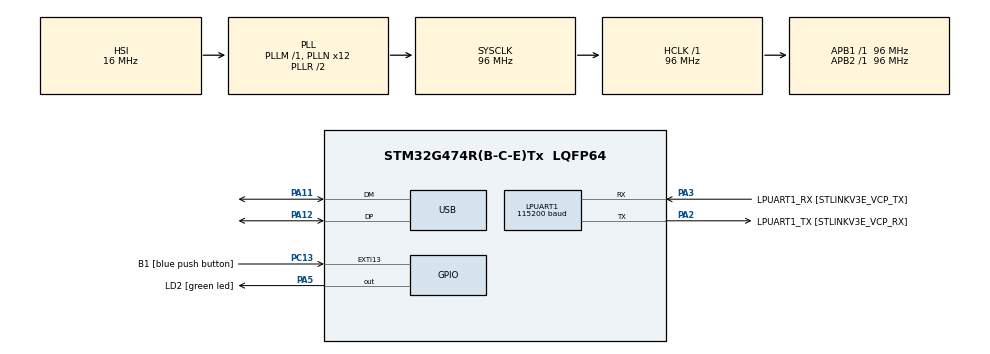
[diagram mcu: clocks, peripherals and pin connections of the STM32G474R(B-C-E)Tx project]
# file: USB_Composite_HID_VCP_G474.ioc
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LPUART1.BaudRate=115200
LPUART1.WordLength=UART_WORDLENGTH_8B
Mcu.Family=STM32G4
Mcu.Name=STM32G474R(B-C-E)Tx
Mcu.Package=LQFP64
NVIC.EXTI15_10_IRQn=true\:0\:0\:false\:false\:true\:true\:true\:true
NVIC.PriorityGroup=NVIC_PRIORITYGROUP_4
NVIC.USB_LP_IRQn=true\:0\:0\:false\:false\:true\:false\:true\:true
PA11.Mode=Device
PA11.Signal=USB_DM
PA12.Mode=Device
PA12.Signal=USB_DP
PA13.GPIO_Label=T_SWDIO
PA13.Mode=Serial_Wire
PA13.Signal=SYS_JTMS-SWDIO
PA14.GPIO_Label=T_SWCLK
PA14.Mode=Serial_Wire
PA14.Signal=SYS_JTCK-SWCLK
PA2.GPIO_Label=LPUART1_TX [STLINKV3E_VCP_RX]
PA2.Mode=Asynchronous
PA2.Signal=LPUART1_TX
PA3.GPIO_Label=LPUART1_RX [STLINKV3E_VCP_TX]
PA3.Mode=Asynchronous
PA3.Signal=LPUART1_RX
PA5.GPIO_Label=LD2 [green led]
PA5.Signal=GPIO_Output
PB3.GPIO_Label=T_SWO
PB3.Signal=SYS_JTDO-SWO
PC13.GPIO_Label=B1 [blue push button]
PC13.Signal=GPXTI13
PC14-OSC32_IN.Mode=LSE-External-Oscillator
PC14-OSC32_IN.Signal=RCC_OSC32_IN
PC15-OSC32_OUT.Mode=LSE-External-Oscillator
PC15-OSC32_OUT.Signal=RCC_OSC32_OUT
PF0-OSC_IN.Mode=HSE-External-Oscillator
PF0-OSC_IN.Signal=RCC_OSC_IN
PF1-OSC_OUT.Mode=HSE-External-Oscillator
PF1-OSC_OUT.Signal=RCC_OSC_OUT
ProjectManager.HeapSize=0x200
ProjectManager.StackSize=0x400
ProjectManager.TargetToolchain=STM32CubeIDE
RCC.ADC12Freq_Value=96000000
RCC.ADC345Freq_Value=96000000
RCC.AHBFreq_Value=96000000
RCC.APB1Freq_Value=96000000
RCC.APB1TimFreq_Value=96000000
RCC.APB2Freq_Value=96000000
RCC.APB2TimFreq_Value=96000000
RCC.CortexFreq_Value=96000000
RCC.EXTERNAL_CLOCK_VALUE=12288000
RCC.HCLKFreq_Value=96000000
RCC.HSE_VALUE=24000000
RCC.HSI48_VALUE=48000000
RCC.HSI_VALUE=16000000
RCC.PLLN=12
RCC.PLLQ=RCC_PLLQ_DIV4
RCC.RTCClockSelection=RCC_RTCCLKSOURCE_LSE
RCC.SYSCLKFreq_VALUE=96000000
RCC.SYSCLKSource=RCC_SYSCLKSOURCE_PLLCLK
RCC.USBFreq_Value=48000000
RCC.VCOOutputFreq_Value=192000000
USB.lpm_enable=DISABLE
USB_DEVICE.CLASS_NAME_FS=CUSTOM_HID
USB_DEVICE.CONFIGURATION_STRING_CUSTOMHID_FS=Custom Composite Config
USB_DEVICE.INTERFACE_STRING_CUSTOMHID_FS=Custom Composite Interface
USB_DEVICE.PID_CUSTOMHID_FS=22657 
USB_DEVICE.PRODUCT_STRING_CUSTOMHID_FS=STM32 Composite HID VCP
USB_DEVICE.USBD_CUSTOM_HID_REPORT_DESC_SIZE=187
USB_DEVICE.USBD_MAX_NUM_INTERFACES=3
USB_DEVICE.VirtualMode=CustomHid
USB_DEVICE.VirtualModeFS=Custom_Hid_FS
VP_SYS_VS_DBSignals.Mode=DisableDeadBatterySignals
VP_USB_DEVICE_VS_USB_DEVICE_CUSTOM_HID_FS.Mode=CUSTOM_HID_FS
board=NUCLEO-G474RE

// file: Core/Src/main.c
/* USER CODE BEGIN Header */
/**
  ******************************************************************************
  * @file           : main.c
  * @brief          : Main program body
  ******************************************************************************
  * @attention
  *
  * Copyright (c) 2023 STMicroelectronics.
  * All rights reserved.
  *
  * This software is licensed under terms that can be found in the LICENSE file
  * in the root directory of this software component.
  * If no LICENSE file comes with this software, it is provided AS-IS.
  *
  ******************************************************************************
  */
/* USER CODE END Header */
#include "main.h"
#include "usb_device.h"

/* USER CODE BEGIN Includes */
#include "usbd_custom_hid_if.h"
/* USER CODE END Includes */

UART_HandleTypeDef hlpuart1;

void SystemClock_Config(void);
static void MX_GPIO_Init(void);
static void MX_LPUART1_UART_Init(void);

/* USER CODE BEGIN 0 */
uint8_t buffer[8];

extern USBD_HandleTypeDef hUsbDeviceFS;
/* USER CODE END 0 */

int main(void)
{

  /* MCU Configuration--------------------------------------------------------*/

  /* Reset of all peripherals, Initializes the Flash interface and the Systick. */
  HAL_Init();

  /* Configure the system clock */
  SystemClock_Config();

  /* Initialize all configured peripherals */
  MX_GPIO_Init();
  MX_LPUART1_UART_Init();
  MX_USB_Device_Init();
  /* USER CODE BEGIN 2 */
  buffer[0]=1;//reportID
  buffer[1]=0;//modifier
  buffer[2]=0;//OEM
  buffer[3]=0x04;//keycode data - a
  buffer[4]=0;//keycode data
  buffer[5]=0;//keycode data
  buffer[6]=0;//keycode data
  buffer[7]=0;//keycode data
  /* USER CODE END 2 */

  /* Infinite loop */
  /* USER CODE BEGIN WHILE */
  HAL_Delay(2000);
  while (1)
  {
    /* USER CODE END WHILE */

    /* USER CODE BEGIN 3 */
	  if (HAL_GPIO_ReadPin(B1_GPIO_Port, B1_Pin) == GPIO_PIN_SET)
	  {
		  buffer[3]=0x4E;//keycode data - PgDwn press
		  USBD_CUSTOM_HID_SendReport_FS(buffer,8);
		  HAL_Delay(100);
		  buffer[3]=0x0;//keycode data - PgDwn release
		  USBD_CUSTOM_HID_SendReport_FS(buffer,8);
		  HAL_Delay(100);
	  }
  }
  /* USER CODE END 3 */
}

void SystemClock_Config(void)
{
  RCC_OscInitTypeDef RCC_OscInitStruct = {0};
  RCC_ClkInitTypeDef RCC_ClkInitStruct = {0};

  /** Configure the main internal regulator output voltage
  */
  HAL_PWREx_ControlVoltageScaling(PWR_REGULATOR_VOLTAGE_SCALE1);

  /** Initializes the RCC Oscillators according to the specified parameters
  * in the RCC_OscInitTypeDef structure.
  */
  RCC_OscInitStruct.OscillatorType = RCC_OSCILLATORTYPE_HSI;
  RCC_OscInitStruct.HSIState = RCC_HSI_ON;
  RCC_OscInitStruct.HSICalibrationValue = RCC_HSICALIBRATION_DEFAULT;
  RCC_OscInitStruct.PLL.PLLState = RCC_PLL_ON;
  RCC_OscInitStruct.PLL.PLLSource = RCC_PLLSOURCE_HSI;
  RCC_OscInitStruct.PLL.PLLM = RCC_PLLM_DIV1;
  RCC_OscInitStruct.PLL.PLLN = 12;
  RCC_OscInitStruct.PLL.PLLP = RCC_PLLP_DIV2;
  RCC_OscInitStruct.PLL.PLLQ = RCC_PLLQ_DIV4;
  RCC_OscInitStruct.PLL.PLLR = RCC_PLLR_DIV2;
  if (HAL_RCC_OscConfig(&RCC_OscInitStruct) != HAL_OK)
  {
    Error_Handler();
  }

  /** Initializes the CPU, AHB and APB buses clocks
  */
  RCC_ClkInitStruct.ClockType = RCC_CLOCKTYPE_HCLK|RCC_CLOCKTYPE_SYSCLK
                              |RCC_CLOCKTYPE_PCLK1|RCC_CLOCKTYPE_PCLK2;
  RCC_ClkInitStruct.SYSCLKSource = RCC_SYSCLKSOURCE_PLLCLK;
  RCC_ClkInitStruct.AHBCLKDivider = RCC_SYSCLK_DIV1;
  RCC_ClkInitStruct.APB1CLKDivider = RCC_HCLK_DIV1;
  RCC_ClkInitStruct.APB2CLKDivider = RCC_HCLK_DIV1;

  if (HAL_RCC_ClockConfig(&RCC_ClkInitStruct, FLASH_LATENCY_3) != HAL_OK)
  {
    Error_Handler();
  }
}

static void MX_LPUART1_UART_Init(void)
{

  hlpuart1.Instance = LPUART1;
  hlpuart1.Init.BaudRate = 115200;
  hlpuart1.Init.WordLength = UART_WORDLENGTH_8B;
  hlpuart1.Init.StopBits = UART_STOPBITS_1;
  hlpuart1.Init.Parity = UART_PARITY_NONE;
  hlpuart1.Init.Mode = UART_MODE_TX_RX;
  hlpuart1.Init.HwFlowCtl = UART_HWCONTROL_NONE;
  hlpuart1.Init.OneBitSampling = UART_ONE_BIT_SAMPLE_DISABLE;
  hlpuart1.Init.ClockPrescaler = UART_PRESCALER_DIV1;
  hlpuart1.AdvancedInit.AdvFeatureInit = UART_ADVFEATURE_NO_INIT;
  if (HAL_UART_Init(&hlpuart1) != HAL_OK)
  {
    Error_Handler();
  }
  if (HAL_UARTEx_SetTxFifoThreshold(&hlpuart1, UART_TXFIFO_THRESHOLD_1_8) != HAL_OK)
  {
    Error_Handler();
  }
  if (HAL_UARTEx_SetRxFifoThreshold(&hlpuart1, UART_RXFIFO_THRESHOLD_1_8) != HAL_OK)
  {
    Error_Handler();
  }
  if (HAL_UARTEx_DisableFifoMode(&hlpuart1) != HAL_OK)
  {
    Error_Handler();
  }

}

static void MX_GPIO_Init(void)
{
  GPIO_InitTypeDef GPIO_InitStruct = {0};

  /* GPIO Ports Clock Enable */
  __HAL_RCC_GPIOC_CLK_ENABLE();
  __HAL_RCC_GPIOF_CLK_ENABLE();
  __HAL_RCC_GPIOA_CLK_ENABLE();
  __HAL_RCC_GPIOB_CLK_ENABLE();

  /*Configure GPIO pin Output Level */
  HAL_GPIO_WritePin(LD2_GPIO_Port, LD2_Pin, GPIO_PIN_RESET);

  /*Configure GPIO pin : B1_Pin */
  GPIO_InitStruct.Pin = B1_Pin;
  GPIO_InitStruct.Mode = GPIO_MODE_IT_RISING;
  GPIO_InitStruct.Pull = GPIO_NOPULL;
  HAL_GPIO_Init(B1_GPIO_Port, &GPIO_InitStruct);

  /*Configure GPIO pin : LD2_Pin */
  GPIO_InitStruct.Pin = LD2_Pin;
  GPIO_InitStruct.Mode = GPIO_MODE_OUTPUT_PP;
  GPIO_InitStruct.Pull = GPIO_NOPULL;
  GPIO_InitStruct.Speed = GPIO_SPEED_FREQ_LOW;
  HAL_GPIO_Init(LD2_GPIO_Port, &GPIO_InitStruct);

  /* EXTI interrupt init*/
  HAL_NVIC_SetPriority(EXTI15_10_IRQn, 0, 0);
  HAL_NVIC_EnableIRQ(EXTI15_10_IRQn);

}

void Error_Handler(void)
{
  __disable_irq();
  while (1)
  {
  }
}
